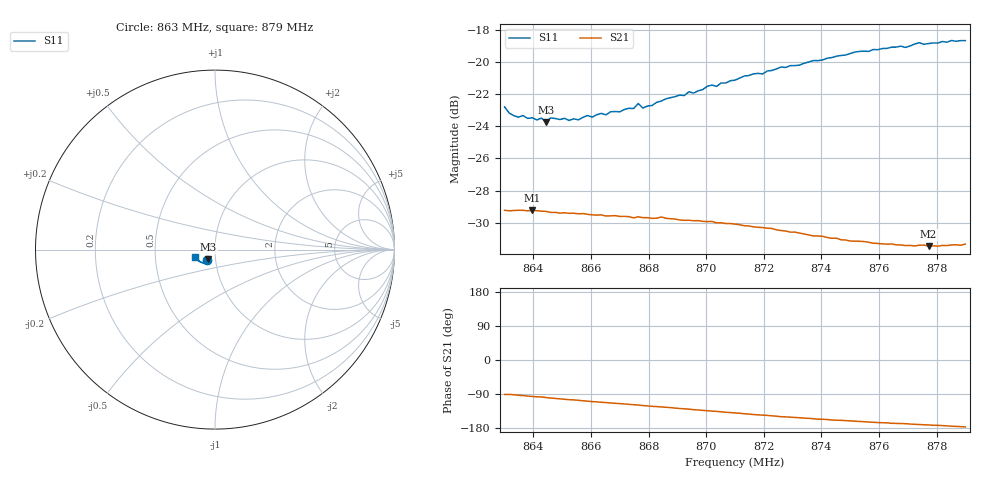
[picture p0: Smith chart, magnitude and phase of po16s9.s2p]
# HZ S RI R 50
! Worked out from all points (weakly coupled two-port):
!   101 points, 863 MHz to 879 MHz, reference 50 ohm
!   highest |S21| = -29.23 dB at 863.96 MHz (marker M1); lowest = -31.5 dB at 877.72 MHz (marker M2)
!   lowest |S11| = -23.7 dB at 864.44 MHz (marker M3), VSWR 1.14, Z = 46.2 - j4.96 ohm
!   |S11| at or under -10 dB: start of sweep to end of sweep
!   S12 and S22 are empty: the file has one direction only
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8.63e8  -0.0464 -0.0556  -0.000544 -0.0346  0 0  0 0
8.6332e8  -0.0422 -0.0534  -0.000983 -0.0345  0 0  0 0
8.6396e8  -0.0395 -0.0541  -0.00374 -0.0344  0 0  0 0
8.6412e8  -0.0387 -0.0535  -0.00427 -0.0342  0 0  0 0
8.6428e8  -0.0371 -0.0556  -0.00448 -0.034  0 0  0 0
8.6444e8  -0.0371 -0.0535  -0.00546 -0.0338  0 0  0 0
8.646e8  -0.0384 -0.0549  -0.00613 -0.0335  0 0  0 0
8.6524e8  -0.035 -0.0556  -0.0086 -0.0327  0 0  0 0
8.6572e8  -0.0348 -0.0575  -0.0102 -0.0322  0 0  0 0
8.6748e8  -0.0343 -0.0629  -0.0154 -0.0289  0 0  0 0
8.6764e8  -0.0369 -0.0644  -0.0159 -0.0289  0 0  0 0
8.678e8  -0.0351 -0.0627  -0.0165 -0.0283  0 0  0 0
8.6844e8  -0.0365 -0.0661  -0.0184 -0.0274  0 0  0 0
8.71e8  -0.0482 -0.0733  -0.0239 -0.0202  0 0  0 0
8.7132e8  -0.0511 -0.0746  -0.0243 -0.0192  0 0  0 0
8.7196e8  -0.0543 -0.0739  -0.0251 -0.0173  0 0  0 0
8.726e8  -0.0598 -0.0757  -0.0258 -0.0151  0 0  0 0
8.7324e8  -0.0648 -0.0732  -0.026 -0.0136  0 0  0 0
8.7372e8  -0.0687 -0.074  -0.0261 -0.0122  0 0  0 0
8.7644e8  -0.0928 -0.0613  -0.0264 -0.0061  0 0  0 0
8.7772e8  -0.1018 -0.0516  -0.0264 -0.00402  0 0  0 0
8.79e8  -0.1099 -0.0387  -0.0271 -0.00162  0 0  0 0
